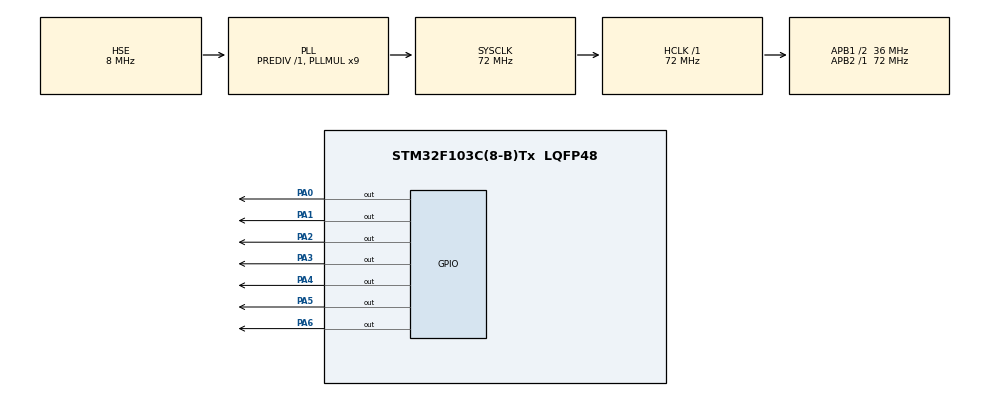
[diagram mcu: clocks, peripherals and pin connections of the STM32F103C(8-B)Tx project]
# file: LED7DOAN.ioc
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Mcu.Family=STM32F1
Mcu.Name=STM32F103C(8-B)Tx
Mcu.Package=LQFP48
NVIC.PriorityGroup=NVIC_PRIORITYGROUP_4
PA0-WKUP.Signal=GPIO_Output
PA1.Signal=GPIO_Output
PA13.Mode=Serial_Wire
PA13.Signal=SYS_JTMS-SWDIO
PA14.Mode=Serial_Wire
PA14.Signal=SYS_JTCK-SWCLK
PA2.Signal=GPIO_Output
PA3.Signal=GPIO_Output
PA4.Signal=GPIO_Output
PA5.Signal=GPIO_Output
PA6.Signal=GPIO_Output
PD0-OSC_IN.Mode=HSE-External-Oscillator
PD0-OSC_IN.Signal=RCC_OSC_IN
PD1-OSC_OUT.Mode=HSE-External-Oscillator
PD1-OSC_OUT.Signal=RCC_OSC_OUT
ProjectManager.HeapSize=0x200
ProjectManager.StackSize=0x400
ProjectManager.TargetToolchain=MDK-ARM V5.32
RCC.AHBFreq_Value=72000000
RCC.APB1CLKDivider=RCC_HCLK_DIV2
RCC.APB1Freq_Value=36000000
RCC.APB1TimFreq_Value=72000000
RCC.APB2Freq_Value=72000000
RCC.APB2TimFreq_Value=72000000
RCC.HCLKFreq_Value=72000000
RCC.PLLMUL=RCC_PLL_MUL9
RCC.PLLSourceVirtual=RCC_PLLSOURCE_HSE
RCC.SYSCLKFreq_VALUE=72000000
RCC.SYSCLKSource=RCC_SYSCLKSOURCE_PLLCLK
RCC.USBFreq_Value=72000000
board=custom

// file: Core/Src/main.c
/* USER CODE BEGIN Header */
/**
  ******************************************************************************
  * @file           : main.c
  * @brief          : Main program body
  ******************************************************************************
  * @attention
  *
  * Copyright (c) 2026 STMicroelectronics.
  * All rights reserved.
  *
  * This software is licensed under terms that can be found in the LICENSE file
  * in the root directory of this software component.
  * If no LICENSE file comes with this software, it is provided AS-IS.
  *
  ******************************************************************************
  */
/* USER CODE END Header */
#include "main.h"

/* USER CODE BEGIN Includes */

#include "led7.h"

/* USER CODE END Includes */

void SystemClock_Config(void);
static void MX_GPIO_Init(void);

/* USER CODE BEGIN 0 */
LED7_HANDLE led7;
/* USER CODE END 0 */

int main(void)
{

  /* MCU Configuration--------------------------------------------------------*/

  /* Reset of all peripherals, Initializes the Flash interface and the Systick. */
  HAL_Init();

  /* Configure the system clock */
  SystemClock_Config();

  /* Initialize all configured peripherals */
  MX_GPIO_Init();
  /* USER CODE BEGIN 2 */
	LED7_Init(&led7,
	(LED7_GPIO){GPIOA, GPIO_PIN_0},
	(LED7_GPIO){GPIOA, GPIO_PIN_1},
	(LED7_GPIO){GPIOA, GPIO_PIN_2},
	(LED7_GPIO){GPIOA, GPIO_PIN_3},
	(LED7_GPIO){GPIOA, GPIO_PIN_4},
	(LED7_GPIO){GPIOA, GPIO_PIN_5},
	(LED7_GPIO){GPIOA, GPIO_PIN_6},
	LED_CATHODE
	);
  /* USER CODE END 2 */

  /* Infinite loop */
  while (1)
  {

    /* USER CODE BEGIN 3 */
		for(int i = 9; i >= 0; i--){
			LED7_Display(&led7, i);
			HAL_Delay(1000);
		}
		//LED7_Display(&led7, 6);
  }
  /* USER CODE END 3 */
}

void SystemClock_Config(void)
{
  RCC_OscInitTypeDef RCC_OscInitStruct = {0};
  RCC_ClkInitTypeDef RCC_ClkInitStruct = {0};

  /** Initializes the RCC Oscillators according to the specified parameters
  * in the RCC_OscInitTypeDef structure.
  */
  RCC_OscInitStruct.OscillatorType = RCC_OSCILLATORTYPE_HSE;
  RCC_OscInitStruct.HSEState = RCC_HSE_ON;
  RCC_OscInitStruct.HSEPredivValue = RCC_HSE_PREDIV_DIV1;
  RCC_OscInitStruct.HSIState = RCC_HSI_ON;
  RCC_OscInitStruct.PLL.PLLState = RCC_PLL_ON;
  RCC_OscInitStruct.PLL.PLLSource = RCC_PLLSOURCE_HSE;
  RCC_OscInitStruct.PLL.PLLMUL = RCC_PLL_MUL9;
  if (HAL_RCC_OscConfig(&RCC_OscInitStruct) != HAL_OK)
  {
    Error_Handler();
  }

  /** Initializes the CPU, AHB and APB buses clocks
  */
  RCC_ClkInitStruct.ClockType = RCC_CLOCKTYPE_HCLK|RCC_CLOCKTYPE_SYSCLK
                              |RCC_CLOCKTYPE_PCLK1|RCC_CLOCKTYPE_PCLK2;
  RCC_ClkInitStruct.SYSCLKSource = RCC_SYSCLKSOURCE_PLLCLK;
  RCC_ClkInitStruct.AHBCLKDivider = RCC_SYSCLK_DIV1;
  RCC_ClkInitStruct.APB1CLKDivider = RCC_HCLK_DIV2;
  RCC_ClkInitStruct.APB2CLKDivider = RCC_HCLK_DIV1;

  if (HAL_RCC_ClockConfig(&RCC_ClkInitStruct, FLASH_LATENCY_2) != HAL_OK)
  {
    Error_Handler();
  }
}

static void MX_GPIO_Init(void)
{
  GPIO_InitTypeDef GPIO_InitStruct = {0};

  /* GPIO Ports Clock Enable */
  __HAL_RCC_GPIOD_CLK_ENABLE();
  __HAL_RCC_GPIOA_CLK_ENABLE();

  /*Configure GPIO pin Output Level */
  HAL_GPIO_WritePin(GPIOA, GPIO_PIN_0|GPIO_PIN_1|GPIO_PIN_2|GPIO_PIN_3
                          |GPIO_PIN_4|GPIO_PIN_5|GPIO_PIN_6, GPIO_PIN_RESET);

  /*Configure GPIO pins : PA0 PA1 PA2 PA3
                           PA4 PA5 PA6 */
  GPIO_InitStruct.Pin = GPIO_PIN_0|GPIO_PIN_1|GPIO_PIN_2|GPIO_PIN_3
                          |GPIO_PIN_4|GPIO_PIN_5|GPIO_PIN_6;
  GPIO_InitStruct.Mode = GPIO_MODE_OUTPUT_PP;
  GPIO_InitStruct.Pull = GPIO_NOPULL;
  GPIO_InitStruct.Speed = GPIO_SPEED_FREQ_LOW;
  HAL_GPIO_Init(GPIOA, &GPIO_InitStruct);

}

void Error_Handler(void)
{
  __disable_irq();
  while (1)
  {
  }
}
